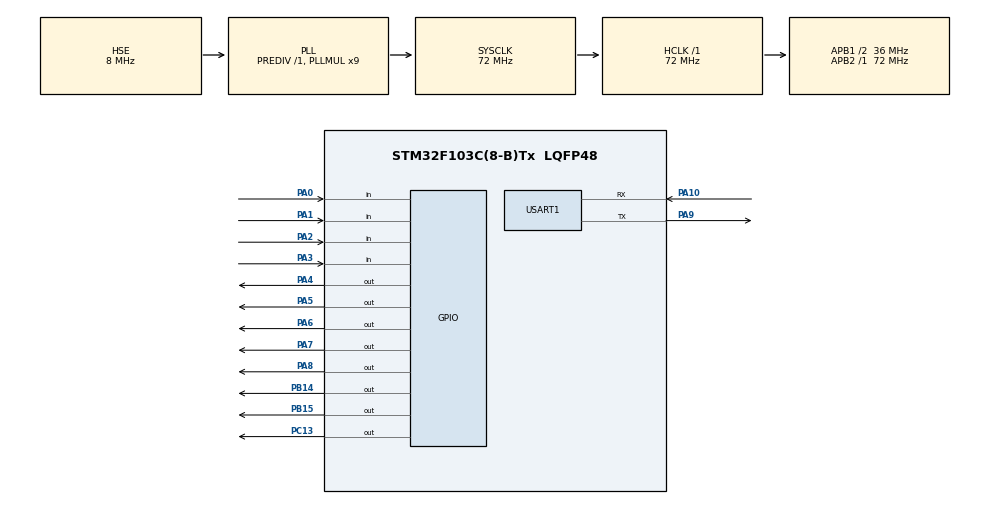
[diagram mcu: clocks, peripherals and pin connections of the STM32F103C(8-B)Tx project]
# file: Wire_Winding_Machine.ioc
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Mcu.Family=STM32F1
Mcu.Name=STM32F103C(8-B)Tx
Mcu.Package=LQFP48
NVIC.PriorityGroup=NVIC_PRIORITYGROUP_4
NVIC.TIM2_IRQn=true\:2\:0\:true\:false\:true\:true\:true\:true
NVIC.USART1_IRQn=true\:0\:0\:false\:false\:true\:true\:true\:true
PA0-WKUP.GPIO_PuPd=GPIO_PULLUP
PA0-WKUP.Signal=GPIO_Input
PA1.GPIO_PuPd=GPIO_PULLUP
PA1.Signal=GPIO_Input
PA10.Mode=Asynchronous
PA10.Signal=USART1_RX
PA13.Mode=Serial_Wire
PA13.Signal=SYS_JTMS-SWDIO
PA14.Mode=Serial_Wire
PA14.Signal=SYS_JTCK-SWCLK
PA2.GPIO_PuPd=GPIO_PULLUP
PA2.Signal=GPIO_Input
PA3.GPIO_PuPd=GPIO_PULLUP
PA3.Signal=GPIO_Input
PA4.GPIO_Speed=GPIO_SPEED_FREQ_LOW
PA4.PinState=GPIO_PIN_SET
PA4.Signal=GPIO_Output
PA5.PinState=GPIO_PIN_SET
PA5.Signal=GPIO_Output
PA6.PinState=GPIO_PIN_SET
PA6.Signal=GPIO_Output
PA7.PinState=GPIO_PIN_SET
PA7.Signal=GPIO_Output
PA8.Signal=GPIO_Output
PA9.Mode=Asynchronous
PA9.Signal=USART1_TX
PB14.Signal=GPIO_Output
PB15.Signal=GPIO_Output
PC13-TAMPER-RTC.Signal=GPIO_Output
PD0-OSC_IN.Mode=HSE-External-Oscillator
PD0-OSC_IN.Signal=RCC_OSC_IN
PD1-OSC_OUT.Mode=HSE-External-Oscillator
PD1-OSC_OUT.Signal=RCC_OSC_OUT
ProjectManager.HeapSize=0x200
ProjectManager.StackSize=0x400
ProjectManager.TargetToolchain=MDK-ARM V5.32
RCC.AHBFreq_Value=72000000
RCC.APB1CLKDivider=RCC_HCLK_DIV2
RCC.APB1Freq_Value=36000000
RCC.APB1TimFreq_Value=72000000
RCC.APB2Freq_Value=72000000
RCC.APB2TimFreq_Value=72000000
RCC.HCLKFreq_Value=72000000
RCC.PLLMUL=RCC_PLL_MUL9
RCC.PLLSourceVirtual=RCC_PLLSOURCE_HSE
RCC.SYSCLKFreq_VALUE=72000000
RCC.SYSCLKSource=RCC_SYSCLKSOURCE_PLLCLK
RCC.USBFreq_Value=72000000
TIM2.Period=65536-1
TIM2.Prescaler=6000-1
USART1.VirtualMode=VM_ASYNC
VP_TIM2_VS_ClockSourceINT.Mode=Internal
board=custom

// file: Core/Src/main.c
/* USER CODE BEGIN Header */
/**
  ******************************************************************************
  * @file           : main.c
  * @brief          : Main program body
  ******************************************************************************
  * @attention
  *
  * Copyright (c) 2022 STMicroelectronics.
  * All rights reserved.
  *
  * This software is licensed under terms that can be found in the LICENSE file
  * in the root directory of this software component.
  * If no LICENSE file comes with this software, it is provided AS-IS.
  *
  ******************************************************************************
  */
/* USER CODE END Header */
#include "main.h"
#include "tim.h"
#include "usart.h"
#include "gpio.h"

/* USER CODE BEGIN Includes */
#include <string.h>
#include <stdio.h>

#include "keypad.h"
#include "tb6600.h"
#include "hw_config.h"
/* USER CODE END Includes */

/* USER CODE BEGIN PM */
/* USER CODE BEGIN PM */
#ifdef __GNUC__
 /* With GCC/RAISONANCE, small printf (option LD Linker->Libraries->Small printf
 set to 'Yes') calls __io_putchar() */
 #define PUTCHAR_PROTOTYPE int __io_putchar(int ch)
#else
 #define PUTCHAR_PROTOTYPE int fputc(int ch, FILE *f)

/**
 * @brief Retargets the C library printf function to the USART.
 * @param None
 * @retval None
 */
PUTCHAR_PROTOTYPE
{
 /* Place your implementation of fputc here */
 /* e.g. write a character to the USART */
 HAL_UART_Transmit(&huart1, (uint8_t *)&ch, 1, 0xFFFF);

 return ch;
}
#endif /* __GNUC__ */
/* USER CODE END PM */

void SystemClock_Config(void);

/* USER CODE BEGIN 0 */

// For key pad
char key = NON_KEY_RELEASED;
KEYPAD_t KeyPad;

char KEYMAP[NUMROWS][NUMCOLS] = {
	{'1', '2', '3', 'A'},
	{'4', '5', '6', 'B'},
	{'7', '8', '9', 'C'},
	{'*', '0', '#', 'D'}
};

// For TB6600
static tb6600_t tb6600;

void HAL_TIM_PeriodElapsedCallback(TIM_HandleTypeDef *htim)
{
	if ((htim->Instance == htim2.Instance) && (tb6600.en_stt == TB6600_ENABLE))
	{
		/* Toggle PA8 */
		HAL_GPIO_TogglePin(TB6600PUL_PORT, TB6600PUL);
		HAL_GPIO_TogglePin(GPIOC, GPIO_PIN_13);

		tb6600.step_number++;
		if(tb6600.step_number >= (tb6600.pulse_per_rev * 2))
		{
			tb6600.rev_number_cur++;

			if(tb6600.number_of_rev_en == 1)
			{
				tb6600.number_of_rev_setup--;

				if(tb6600.number_of_rev_setup == 0)
				{
					tb6600_set_status(&tb6600, TB6600_DISABLE);
				}
			}

			tb6600.step_number = 0;
		}
	}
}

/* USER CODE END 0 */

int main(void)
{

  /* MCU Configuration--------------------------------------------------------*/

  /* Reset of all peripherals, Initializes the Flash interface and the Systick. */
  HAL_Init();

  /* Configure the system clock */
  SystemClock_Config();

  /* Initialize all configured peripherals */
  MX_GPIO_Init();
  MX_USART1_UART_Init();
  MX_TIM2_Init();
  /* USER CODE BEGIN 2 */
	KEYPAD4X4_Init(&KeyPad, KEYMAP, KEYPAD_ROW1_PORT, KEYPAD_ROW1_PIN,
																	KEYPAD_ROW2_PORT, KEYPAD_ROW2_PIN,
																	KEYPAD_ROW3_PORT, KEYPAD_ROW3_PIN,
																	KEYPAD_ROW4_PORT, KEYPAD_ROW4_PIN,
                                  KEYPAD_COLUM1_PORT, KEYPAD_COLUM1_PIN,
	                                KEYPAD_COLUM2_PORT, KEYPAD_COLUM2_PIN,
																	KEYPAD_COLUM3_PORT, KEYPAD_COLUM3_PIN,
																	KEYPAD_COLUM4_PORT, KEYPAD_COLUM4_PIN);

	tb6600_init(&tb6600, TB6600_ENABLE, TB6600_RIGHT_2_LEFT, PULSE_PER_REV_800);

  /*##  Start the TIM Base generation in interrupt mode ####################*/
  HAL_TIM_Base_Start_IT(&htim2);
  /* USER CODE END 2 */

  /* Infinite loop */
  while (1)
  {

    /* USER CODE BEGIN 3 */
		key = KEYPAD4X4_scan(&KeyPad);
		if(key)
		{
			HAL_UART_Transmit(&huart1, (uint8_t*)&key, 1, 1000);
		}

		// turn right to left
		if(key == 'A')
		{
			tb6600_set_direction(&tb6600, TB6600_RIGHT_2_LEFT);
		}

		// turn left to right
		if(key == 'B')
		{
			tb6600_set_direction(&tb6600, TB6600_LEFT_2_RIGHT);
		}

		// Start
		if(key == 'C')
		{
			tb6600_set_status(&tb6600, TB6600_ENABLE);
		}

		// Pause
		if(key == 'D')
		{
			tb6600_set_status(&tb6600, TB6600_DISABLE);
		}

		// rpm
		if(key == '#')
		{
			tb6600.rpm += 1;
			tb6600_set_rpm(&tb6600, tb6600.rpm);
		}

		// setup the number of revolution
		if(key == '0')
		{
			tb6600_set_num_of_rev(&tb6600, 5, 1);
		}

		HAL_Delay(1);
  }
  /* USER CODE END 3 */
}

void SystemClock_Config(void)
{
  RCC_OscInitTypeDef RCC_OscInitStruct = {0};
  RCC_ClkInitTypeDef RCC_ClkInitStruct = {0};

  /** Initializes the RCC Oscillators according to the specified parameters
  * in the RCC_OscInitTypeDef structure.
  */
  RCC_OscInitStruct.OscillatorType = RCC_OSCILLATORTYPE_HSE;
  RCC_OscInitStruct.HSEState = RCC_HSE_ON;
  RCC_OscInitStruct.HSEPredivValue = RCC_HSE_PREDIV_DIV1;
  RCC_OscInitStruct.HSIState = RCC_HSI_ON;
  RCC_OscInitStruct.PLL.PLLState = RCC_PLL_ON;
  RCC_OscInitStruct.PLL.PLLSource = RCC_PLLSOURCE_HSE;
  RCC_OscInitStruct.PLL.PLLMUL = RCC_PLL_MUL9;
  if (HAL_RCC_OscConfig(&RCC_OscInitStruct) != HAL_OK)
  {
    Error_Handler();
  }

  /** Initializes the CPU, AHB and APB buses clocks
  */
  RCC_ClkInitStruct.ClockType = RCC_CLOCKTYPE_HCLK|RCC_CLOCKTYPE_SYSCLK
                              |RCC_CLOCKTYPE_PCLK1|RCC_CLOCKTYPE_PCLK2;
  RCC_ClkInitStruct.SYSCLKSource = RCC_SYSCLKSOURCE_PLLCLK;
  RCC_ClkInitStruct.AHBCLKDivider = RCC_SYSCLK_DIV1;
  RCC_ClkInitStruct.APB1CLKDivider = RCC_HCLK_DIV2;
  RCC_ClkInitStruct.APB2CLKDivider = RCC_HCLK_DIV1;

  if (HAL_RCC_ClockConfig(&RCC_ClkInitStruct, FLASH_LATENCY_2) != HAL_OK)
  {
    Error_Handler();
  }
}

void Error_Handler(void)
{
  __disable_irq();
  while (1)
  {
  }
}
